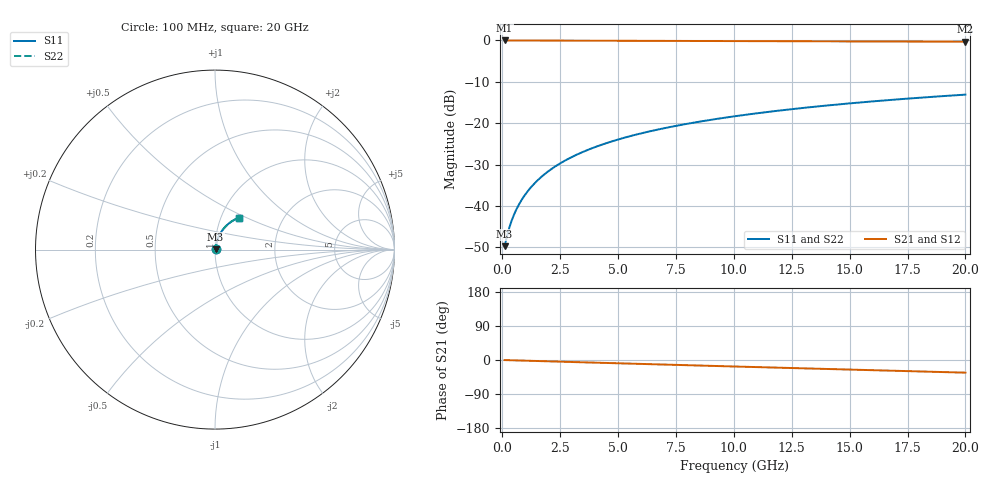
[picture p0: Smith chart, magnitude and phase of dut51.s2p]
! Touchstone file exported from HFSS 2026.1.0
!  File:  C:/ffzhzh/LocalFiles/Ansys_Project_Files/temp_train_BSMRDL_51_1782882529_8056.aedt
!  Generated:  01:09:59 PM Jul  1, 2026
!  Design:  BSMRDL
!  Project:  temp_train_BSMRDL_51_1782882529_8056
! Variables:
!  h_bsmrdl = 4.28um
!  h_ox = 20um
!  h_rdl = 5um
!  h_sub = 80um
!  h_tmrdl = 5um
!  h_tsv = 80um
!  h_via = 3um
!  l_bsmrdl = 545.61um
!  l_sub = 945.61um
!  l_tmrdl = 200um
!  m_sub = 200um
!  pitch = 28.7um
!  r_tsv = 6um
!  s_tmrdl = 10um
!  w_bsmrdl = 16.52um
!  w_sub = 500um
!  w_tmrdl = 12um
!  x_tsv_center1 = 206um
!  x_tsv_center2 = 768.13um
!  x_tsv_center3 = 980.13um
!  x_tsv_center4 = 1542.26um
!  x_tsv_center5 = 1754.26um
!  x_tsv_center6 = 2316.39um
# GHz S MA R 50.000000
! Terminal data exported
! Port[1] = BSM_RDL1_1_T1
! Port[2] = BSM_RDL1_1_T2
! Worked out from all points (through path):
!   200 points, 100 MHz to 20 GHz, reference 50 ohm
!   highest |S21| = -0.03 dB at 100 MHz (marker M1); lowest = -0.3 dB at 20 GHz (marker M2)
!   group delay of S21, straight-line fit = 4.63 ps
!   lowest |S11| = -49.7 dB at 100 MHz (marker M3), VSWR 1.01, Z = 50.3 + j0.154 ohm
!   |S11| at or under -10 dB: start of sweep to end of sweep
!   |S22| runs from -49.7 to -13.1 dB; largest |S21 - S12| = 3.5e-15
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0.1  0.003267 27.9  0.9971 -0.2  0.9971 -0.2  0.003267 27.9
! Gamma 0 0 0 0
! Port Impedance 50 0 50 0
0.2  0.004268 44.3  0.997 -0.4  0.997 -0.4  0.004268 44.4
0.3  0.005422 53.3  0.9968 -0.6  0.9968 -0.6  0.005422 53.3
0.4  0.006601 58.8  0.9966 -0.7  0.9966 -0.7  0.006602 58.8
0.5  0.007785 62.7  0.9965 -0.9  0.9965 -0.9  0.007786 62.7
0.6  0.008977 65.6  0.9964 -1.1  0.9964 -1.1  0.008978 65.6
0.8  0.01139 69.6  0.9963 -1.4  0.9963 -1.4  0.01139 69.6
1  0.01384 72.3  0.9962 -1.8  0.9962 -1.8  0.01384 72.3
1.2  0.01632 74.1  0.996 -2.1  0.996 -2.1  0.01633 74.1
1.4  0.01883 75.3  0.9959 -2.5  0.9959 -2.5  0.01883 75.3
1.7  0.0226 76.5  0.9957 -3.0  0.9957 -3.0  0.0226 76.5
2.2  0.0289 77.4  0.9953 -3.9  0.9953 -3.9  0.0289 77.4
2.8  0.03644 77.6  0.9946 -4.9  0.9946 -4.9  0.03644 77.6
3.5  0.04516 77.3  0.9938 -6.1  0.9938 -6.1  0.04516 77.3
4.2  0.05376 76.6  0.9929 -7.3  0.9929 -7.3  0.05377 76.6
5  0.06345 75.6  0.9917 -8.7  0.9917 -8.7  0.06345 75.6
6.8  0.08467 73.1  0.9888 -11.8  0.9888 -11.8  0.08467 73.1
8.3  0.1018 70.9  0.9862 -14.3  0.9862 -14.3  0.1018 70.9
10.1  0.1218 68.2  0.9829 -17.3  0.9829 -17.3  0.1218 68.2
13.4  0.157 63.2  0.9765 -22.7  0.9765 -22.7  0.157 63.2
16.7  0.1901 58.2  0.9695 -28.1  0.9695 -28.1  0.1901 58.2
20  0.221 53.3  0.9621 -33.4  0.9621 -33.4  0.221 53.3
